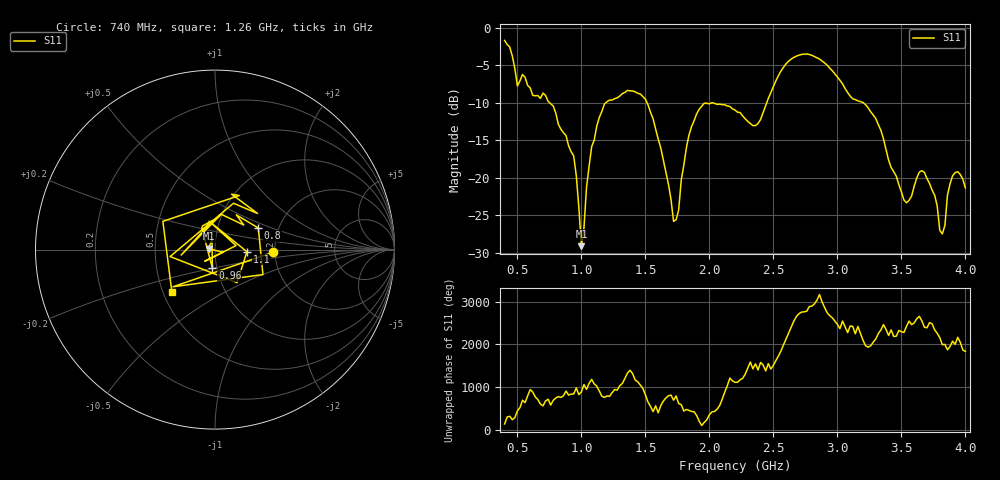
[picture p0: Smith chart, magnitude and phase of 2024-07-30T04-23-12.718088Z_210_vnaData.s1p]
!Created with skrf (http://scikit-rf.org).
# Hz S RI R 50.0
!freq ReS11 ImS11
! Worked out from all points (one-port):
!   181 points, 400 MHz to 4 GHz, reference 50 ohm
!   lowest |S11| = -29.1 dB at 1 GHz (marker M1), VSWR 1.07, Z = 46.7 + j0.493 ohm
!   |S11| at or under -10 dB: 753.5 MHz to 1.189 GHz (435.9 MHz wide, 44.9 % of centre); 1.514 GHz to 2.016 GHz (502.9 MHz wide, 28.5 % of centre); 3.204 GHz to end of sweep (the widest 3 of 4)
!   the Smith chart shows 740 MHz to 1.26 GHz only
!   S11 on the Smith chart (normalised r, x): 740 MHz: 1.96, -0.06; 800 MHz: 1.57, +0.41; 960 MHz: 0.95, -0.20; 1.1 GHz: 1.43, -0.03; 1.26 GHz: 0.56, -0.30
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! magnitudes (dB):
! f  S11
! 400 MHz  -1.7
! 500 MHz  -7.7
! 740 MHz  -9.8
! 800 MHz  -11.4
! 860 MHz  -14.0
! 960 MHz  -19.7
! 1 GHz  -29.1
! 1.04 GHz  -21.3
! 1.1 GHz  -15.0
! 1.26 GHz  -9.4
! 1.3 GHz  -9.1
! 1.5 GHz  -9.5
! 1.62 GHz  -16.0
! 1.72 GHz  -25.8
! 1.76 GHz  -24.3
! 1.84 GHz  -14.3
! 1.92 GHz  -10.9
! 2.2 GHz  -11.0
! 2.38 GHz  -12.8
! 2.66 GHz  -3.9
! 2.86 GHz  -4.1
! 3.1 GHz  -9.1
! 3.3 GHz  -12.1
! 3.56 GHz  -23.0
! 3.68 GHz  -19.3
! 3.82 GHz  -27.5
! 3.9 GHz  -19.7
! 4 GHz  -21.4
